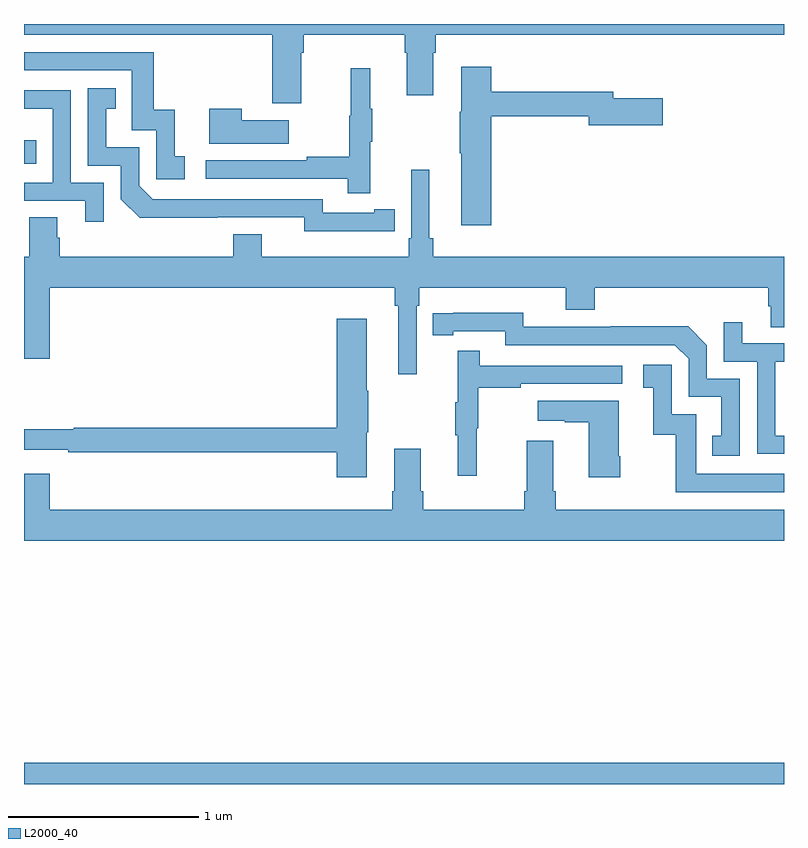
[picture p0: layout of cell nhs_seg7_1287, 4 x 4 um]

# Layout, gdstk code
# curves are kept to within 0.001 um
import gdstk
lib = gdstk.Library(unit=1e-6, precision=1e-09)
def R(c, l, rs):  # rectangles x0, y0, x1, y1
    for r in rs: c.add(gdstk.rectangle(r[:2], r[2:], *l))
def P(c, l, *ps):  # polygons
    for p in ps: c.add(gdstk.Polygon(p, *l))
L2000_40 = (2000, 40)

nhs_seg7_1287 = lib.new_cell('nhs_seg7_1287')
R(nhs_seg7_1287, L2000_40, [(201,1002,205,1002.112), (201,1005.264,201.065,1005.387)])
P(nhs_seg7_1287, L2000_40, [(202.459,1005.848),(202.472,1005.848),(202.472,1005.944),(203.003,1005.944),(203.003,1005.848),(203.015,1005.848),(203.015,1005.624),(203.155,1005.624),(203.155,1005.848),(203.168,1005.848),(203.168,1005.944),(205,1005.944),(205,1006),(201,1006),(201,1005.944),(202.307,1005.944),(202.307,1005.582),(202.459,1005.582)],
  [(201.847,1005.303),(201.794,1005.303),(201.794,1005.55),(201.683,1005.55),(201.683,1005.852),(201,1005.852),(201,1005.756),(201.567,1005.756),(201.567,1005.441),(201.696,1005.441),(201.696,1005.183),(201.847,1005.183)],
  [(203.459,1005.514),(203.972,1005.514),(203.972,1005.467),(204.361,1005.467),(204.361,1005.609),(204.1,1005.609),(204.1,1005.643),(203.459,1005.643),(203.459,1005.775),(203.3,1005.775),(203.3,1005.537),(203.293,1005.537),(203.293,1005.319),(203.3,1005.319),(203.3,1004.94),(203.459,1004.94)],
  [(202.823,1005.379),(202.834,1005.379),(202.834,1005.553),(202.823,1005.553),(202.823,1005.766),(202.72,1005.766),(202.72,1005.516),(202.713,1005.516),(202.713,1005.302),(202.489,1005.302),(202.489,1005.282),(201.957,1005.282),(201.957,1005.186),(202.705,1005.186),(202.705,1005.108),(202.823,1005.108)],
  [(202.844,1004.91),(202.952,1004.91),(202.952,1005.026),(202.844,1005.026),(202.844,1005.006),(202.572,1005.006),(202.572,1005.078),(201.678,1005.078),(201.606,1005.15),(201.606,1005.351),(201.433,1005.351),(201.433,1005.555),(201.482,1005.555),(201.482,1005.661),(201.336,1005.661),(201.336,1005.255),(201.51,1005.255),(201.51,1005.078),(201.608,1004.981),(202.476,1004.982),(202.476,1004.909)],
  [(201.42,1005.165),(201.246,1005.165),(201.246,1005.651),(201,1005.651),(201,1005.554),(201.15,1005.554),(201.15,1005.165),(201,1005.165),(201,1005.069),(201.323,1005.069),(201.323,1004.958),(201.42,1004.958)],
  [(202.393,1005.493),(202.145,1005.493),(202.145,1005.553),(201.974,1005.553),(201.974,1005.371),(202.393,1005.371)],
  [(203.153,1004.872),(203.134,1004.872),(203.134,1005.232),(203.037,1005.232),(203.037,1004.872),(203.024,1004.872),(203.024,1004.776),(202.252,1004.776),(202.252,1004.893),(202.1,1004.893),(202.1,1004.776),(201.188,1004.776),(201.188,1004.874),(201.175,1004.874),(201.175,1004.984),(201.028,1004.984),(201.028,1004.776),(201,1004.776),(201,1004.238),(201.136,1004.238),(201.136,1004.612),(202.951,1004.612),(202.951,1004.516),(202.97,1004.516),(202.97,1004.157),(203.067,1004.157),(203.067,1004.516),(203.081,1004.516),(203.081,1004.612),(203.852,1004.612),(203.852,1004.495),(204.005,1004.495),(204.005,1004.612),(204.917,1004.612),(204.917,1004.514),(204.929,1004.514),(204.929,1004.404),(205,1004.404),(205,1004.776),(203.153,1004.776)],
  [(204.768,1004.133),(204.594,1004.133),(204.594,1004.31),(204.496,1004.408),(204.088,1004.408),(204.088,1004.406),(203.628,1004.406),(203.628,1004.479),(203.152,1004.478),(203.152,1004.362),(203.26,1004.362),(203.26,1004.382),(203.532,1004.382),(203.532,1004.31),(204.426,1004.31),(204.498,1004.238),(204.498,1004.037),(204.671,1004.037),(204.671,1003.833),(204.622,1003.833),(204.622,1003.728),(204.768,1003.728)],
  [(202.804,1003.851),(202.812,1003.851),(202.812,1004.069),(202.804,1004.069),(202.804,1004.449),(202.646,1004.449),(202.646,1003.874),(201.262,1003.874),(201.262,1003.867),(201,1003.867),(201,1003.758),(201.232,1003.758),(201.232,1003.746),(202.646,1003.746),(202.646,1003.614),(202.804,1003.614)],
  [(205,1003.834),(204.954,1003.834),(204.954,1004.223),(205,1004.223),(205,1004.319),(204.781,1004.319),(204.781,1004.431),(204.684,1004.431),(204.684,1004.223),(204.858,1004.223),(204.858,1003.737),(205,1003.737)],
  [(203.384,1003.872),(203.392,1003.872),(203.392,1004.086),(203.615,1004.086),(203.615,1004.106),(204.148,1004.106),(204.148,1004.202),(203.399,1004.202),(203.399,1004.281),(203.282,1004.281),(203.282,1004.009),(203.271,1004.009),(203.271,1003.835),(203.282,1003.835),(203.282,1003.623),(203.384,1003.623)],
  [(205,1003.632),(204.537,1003.632),(204.537,1003.947),(204.408,1003.947),(204.408,1004.206),(204.258,1004.206),(204.258,1004.085),(204.311,1004.085),(204.311,1003.839),(204.429,1003.839),(204.429,1003.536),(205,1003.536)],
  [(204.138,1003.726),(204.13,1003.726),(204.13,1004.017),(203.703,1004.017),(203.703,1003.913),(203.846,1003.913),(203.846,1003.903),(203.972,1003.903),(203.972,1003.614),(204.138,1003.614)],
  [(205,1003.444),(203.798,1003.444),(203.798,1003.54),(203.785,1003.54),(203.785,1003.807),(203.645,1003.807),(203.645,1003.54),(203.633,1003.54),(203.633,1003.444),(203.102,1003.444),(203.102,1003.54),(203.089,1003.54),(203.089,1003.765),(202.949,1003.765),(202.949,1003.54),(202.937,1003.54),(202.937,1003.444),(201.136,1003.444),(201.136,1003.633),(201,1003.633),(201,1003.28),(205,1003.28)])

lib.write_gds('nhs_seg7_1287.gds')
